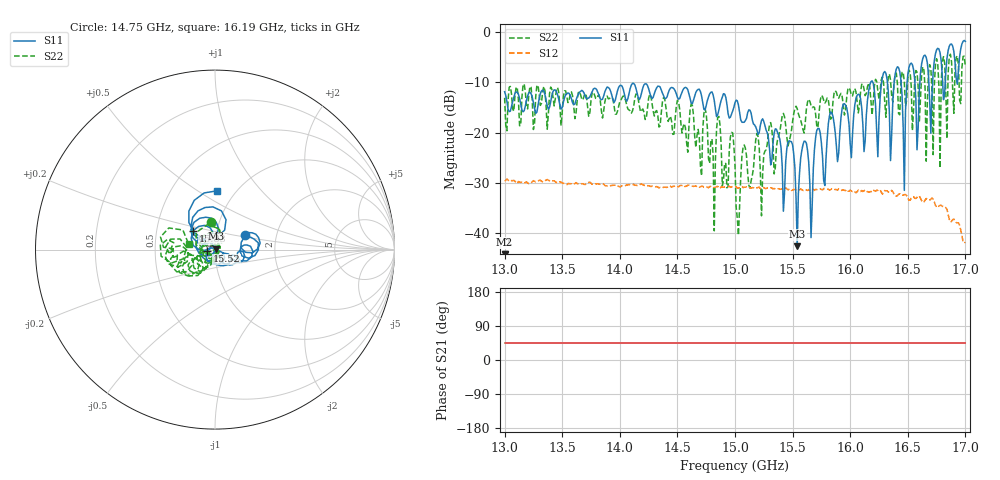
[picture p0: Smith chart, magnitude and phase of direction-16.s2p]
!Keysight Technologies,P9374A,MY57211810,A.19.30.04
!Date: Friday, May 02, 2025 08:58:25
!Correction: S11(Off)
!S21(Off)
!S12(Off)
!S22(Off)
!S2P File: Measurements: S11, S21, S12, S22:
# Hz S  dB  R 50
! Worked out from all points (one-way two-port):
!   401 points, 13 GHz to 17 GHz, reference 50 ohm
!   highest |S21| = - dB at 13 GHz (marker M1); lowest = - dB at 13 GHz (marker M2)
!   lowest |S11| = -42.5 dB at 15.54 GHz (marker M3), VSWR 1.02, Z = 50.5 + j0.582 ohm
!   |S11| at or under -10 dB: start of sweep to 16.18 GHz; 16.19629 GHz to 16.27325 GHz (76.97 MHz wide, 0.474 % of centre); 16.32283 GHz to 16.38177 GHz (58.94 MHz wide, 0.36 % of centre) (the widest 3 of 8)
!   |S22| runs from -40.4 to -4.4 dB; largest |S21 - S12| = 0.035
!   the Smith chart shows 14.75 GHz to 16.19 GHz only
!   S11 on the Smith chart (normalised r, x): 14.75 GHz: 1.38, +0.23; 15.52 GHz: 0.92, -0.01; 15.83 GHz: 0.77, +0.17; 16.19 GHz: 0.82, +0.60
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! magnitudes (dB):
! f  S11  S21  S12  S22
! 13 GHz  -11.9  -  -29.6  -13.1
! 13.67 GHz  -11.6  -  -30.1  -13.4
! 14.34 GHz  -10.8  -  -30.9  -18.9
! 14.75 GHz  -14.6  -  -30.7  -16.2
! 15 GHz  -14.0  -  -30.7  -26.5
! 15.03 GHz  -14.5  -  -31.0  -40.4
! 15.08 GHz  -17.9  -  -30.8  -22.4
! 15.52 GHz  -27.0  -  -31.3  -15.2
! 15.54 GHz  -42.5  -  -31.4  -15.2
! 15.6 GHz  -21.7  -  -31.5  -20.1
! 15.67 GHz  -34.5  -  -31.3  -15.0
! 15.83 GHz  -15.9  -  -31.3  -17.3
! 16.12 GHz  -23.8  -  -31.6  -11.3
! 16.19 GHz  -9.7  -  -31.4  -16.5
! 16.34 GHz  -15.9  -  -31.9  -8.3
! 16.41 GHz  -6.9  -  -32.5  -10.3
! 16.47 GHz  -31.5  -  -32.3  -9.9
! 16.52 GHz  -6.4  -  -33.4  -7.9
! 16.58 GHz  -23.4  -  -32.8  -7.9
! 16.64 GHz  -4.7  -  -33.7  -7.6
! 16.7 GHz  -20.1  -  -33.2  -7.2
! 17 GHz  -1.9  -  -41.8  -6.9
